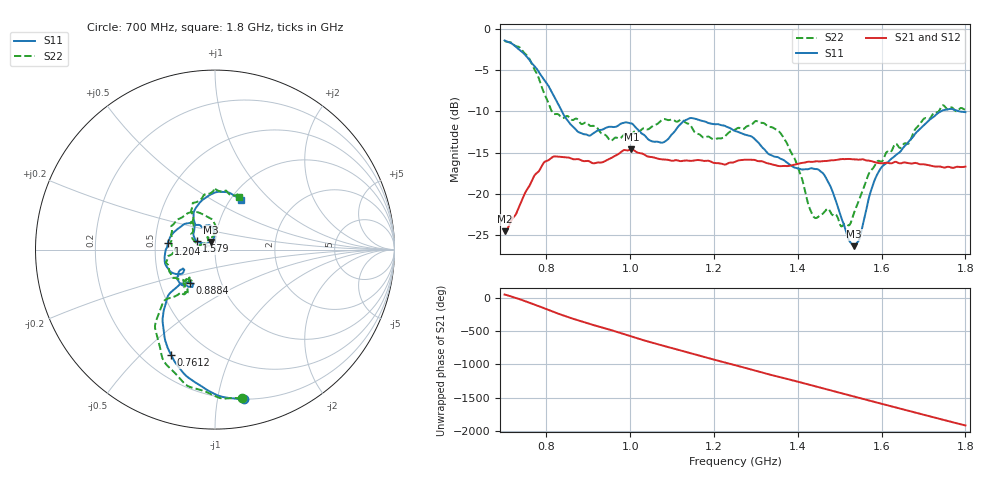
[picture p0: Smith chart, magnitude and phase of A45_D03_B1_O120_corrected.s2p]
! Created with skrf 1.9.0 (http://scikit-rf.org).
# Hz S RI R 50.0
!freq ReS11 ImS11 ReS21 ImS21 ReS12 ImS12 ReS22 ImS22
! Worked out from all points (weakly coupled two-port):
!   1601 points, 700 MHz to 1.8 GHz, reference 50 ohm
!   highest |S21| = -14.60 dB at 1.002 GHz (marker M1); lowest = -24.5 dB at 701.4 MHz (marker M2)
!   lowest |S11| = -26.3 dB at 1.535 GHz (marker M3), VSWR 1.10, Z = 47.5 + j4.04 ohm
!   |S11| at or under -10 dB: 837 MHz to 1.741 GHz (903.9 MHz wide, 70.1 % of centre); 1.785 GHz to end of sweep
!   |S22| runs from -23.9 to -1.5 dB; largest |S21 - S12| = 0.0034
!   S11 on the Smith chart (normalised r, x): 700 MHz: 0.20, -1.19; 761.2 MHz: 0.31, -0.62; 888.4 MHz: 0.71, -0.28; 1.204 GHz: 0.58, +0.04; 1.579 GHz: 0.81, +0.08; 1.8 GHz: 1.12, +0.69
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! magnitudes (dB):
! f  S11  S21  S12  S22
! 700 MHz  -1.4  -24.5  -24.3  -1.5
! 701.4 MHz  -1.5  -24.5  -24.1  -1.5
! 761.2 MHz  -3.9  -18.8  -18.7  -3.8
! 814.8 MHz  -7.9  -15.5  -15.6  -10.2
! 883.6 MHz  -12.6  -15.9  -15.8  -11.5
! 888.4 MHz  -12.8  -16.0  -15.9  -11.5
! 953 MHz  -11.8  -15.7  -15.7  -13.6
! 1.002 GHz  -11.4  -14.6  -14.7  -12.8
! 1.067 GHz  -13.7  -15.7  -15.7  -11.4
! 1.141 GHz  -10.8  -16.0  -15.9  -11.5
! 1.204 GHz  -11.6  -16.3  -16.3  -13.3
! 1.25 GHz  -12.4  -16.1  -16.0  -12.2
! 1.357 GHz  -15.7  -16.6  -16.5  -12.5
! 1.395 GHz  -16.8  -16.4  -16.4  -16.0
! 1.434 GHz  -16.9  -16.1  -16.1  -22.4
! 1.469 GHz  -18.3  -16.0  -16.0  -21.8
! 1.506 GHz  -23.1  -15.8  -15.8  -23.9
! 1.535 GHz  -26.3  -15.8  -15.8  -22.2
! 1.579 GHz  -19.0  -16.1  -16.0  -16.9
! 1.617 GHz  -16.0  -16.2  -16.2  -14.9
! 1.738 GHz  -10.1  -16.7  -16.7  -9.9
! 1.8 GHz  -10.1  -16.7  -16.7  -9.8
